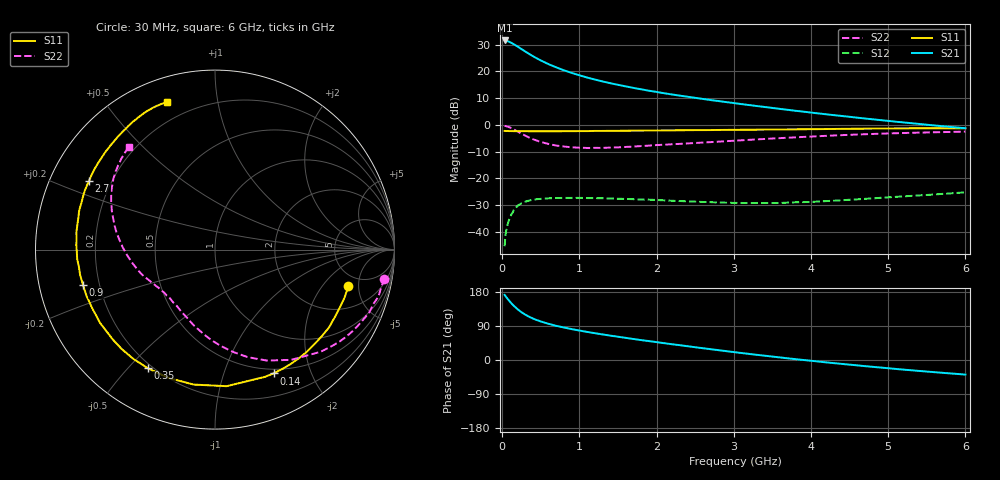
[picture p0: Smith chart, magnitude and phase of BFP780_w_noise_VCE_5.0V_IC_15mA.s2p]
! Infineon Technologies  Discrete & RF Semiconductors
! BFP780
! VCE =  5.0 V,  IC =  15 mA
! Common Emitter S-Parameters:  Jul 2015
# GHz  S  MA  R  50
!  f  S11  S21  S12  S22
! GHz  MAG  ANG  MAG  ANG  MAG  ANG  MAG  ANG
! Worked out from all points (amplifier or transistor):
!   75 points, 30 MHz to 6 GHz, reference 50 ohm
!   highest |S21| = 31.5 dB at 30 MHz (marker M1)
!   |S21| within 3 dB of that: start of sweep to 237 MHz
!   unconditionally stable (mu >= 1): 2.427 GHz to end of sweep
!   at 150 MHz: K = 0.11, MSG = 30.9 dB, |S12| = -31.7 dB
!   at 2.3 GHz: K = 0.95, MSG = 19.7 dB, |S12| = -28.5 dB
!   at 6 GHz: K = 1.29, MAG = 8.7 dB, |S12| = -25.2 dB
!   lowest NFmin = 0.87 dB at 450 MHz
!   S11 on the Smith chart (normalised r, x): 30 MHz: 3.79, -3.78; 140 MHz: 0.45, -1.48; 350 MHz: 0.18, -0.57; 900 MHz: 0.14, -0.13; 2.7 GHz: 0.12, +0.25; 6 GHz: 0.11, +0.72
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0.03  0.7701 -15.3  37.79 171.8  0.0054 69.8  0.9562 -9.7
0.05  0.7667 -25.1  37.45 166.1  0.0106 71.1  0.9474 -16.1
0.09  0.7643 -44.0  35.63 156.0  0.017 63.4  0.9022 -28.0
0.11  0.7649 -52.5  34.46 151.3  0.0198 60.2  0.8765 -33.8
0.14  0.7631 -64.7  32.69 144.8  0.0238 54.8  0.832 -41.6
0.2  0.7638 -85.1  28.94 133.7  0.0309 44.9  0.747 -55.3
0.25  0.7613 -98.9  26.02 125.8  0.0344 39.2  0.6828 -64.9
0.3  0.7607 -110.0  23.34 119.4  0.0367 34.5  0.6262 -73.1
0.35  0.7596 -119.4  21.07 113.9  0.0386 29.8  0.5765 -80.4
0.4  0.7599 -126.8  19.07 109.2  0.0398 26.1  0.5379 -86.5
0.45  0.7597 -133.2  17.41 105.2  0.0408 22.9  0.5064 -92.0
0.6  0.7596 -147.6  13.62 95.4  0.0424 16.2  0.4387 -105.6
0.7  0.758 -154.7  11.85 90.1  0.0429 13.0  0.4098 -112.5
0.9  0.7612 -165.1  9.339 81.5  0.0431 8.3  0.3795 -124.0
1.1  0.7645 -172.9  7.654 74.1  0.0428 5.1  0.3697 -132.8
1.5  0.7737 175.6  5.594 61.4  0.0416 1.2  0.3796 -146.0
2.1  0.7879 162.5  3.891 44.3  0.0388 -1.8  0.4253 -160.0
2.7  0.7991 151.4  2.907 28.5  0.0359 -0.6  0.4754 -173.0
3.1  0.8092 144.5  2.441 18.4  0.0347 2.6  0.5147 178.5
4.1  0.8324 129.2  1.634 -4.2  0.0369 12.5  0.6142 159.4
5.1  0.8586 116.9  1.145 -23.6  0.0451 17.1  0.6971 143.3
6  0.8653 108.1  0.864 -38.6  0.0547 15.1  0.7471 130.1
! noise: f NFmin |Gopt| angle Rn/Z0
0.45  0.87  0.15  114  0.08
0.9  0.93  0.21  148  0.07
1.5  1.06  0.3  165  0.06
1.8  1.28  0.4  -180  0.06
2.4  1.48  0.46  -167  0.08
3  1.85  0.5  -151  0.12
3.5  2.47  0.57  -133  0.22
